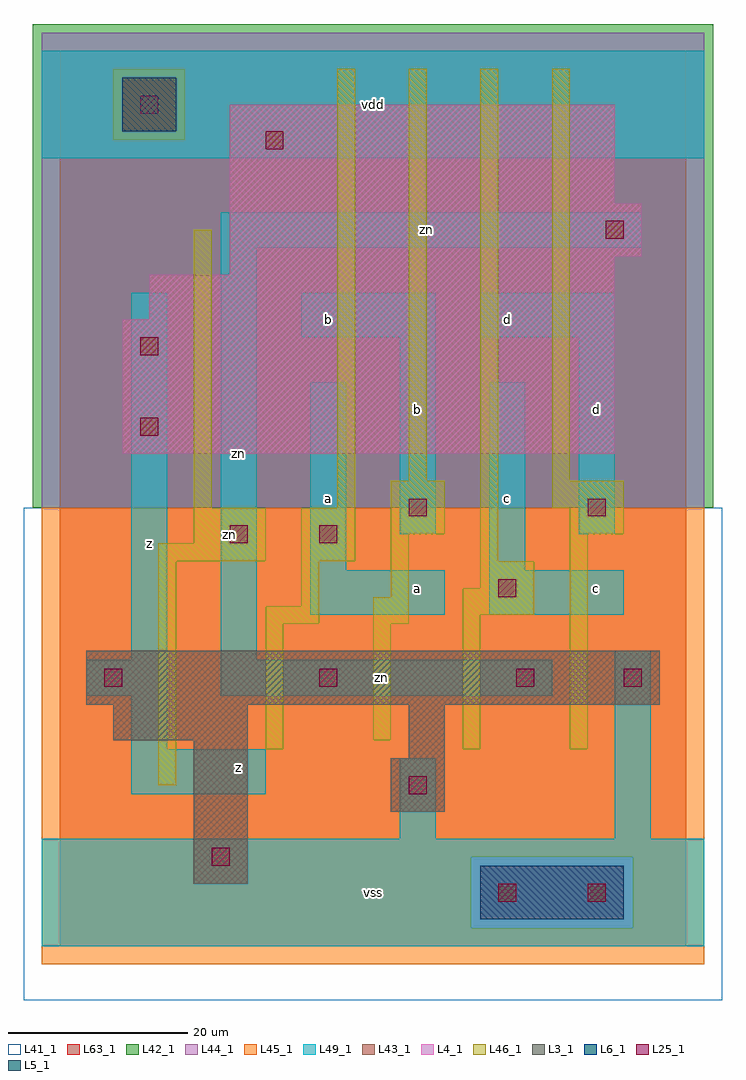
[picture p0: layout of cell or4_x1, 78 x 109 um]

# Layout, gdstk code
import gdstk
lib = gdstk.Library(unit=1e-6, precision=1e-09)
def R(c, l, rs):  # rectangles x0, y0, x1, y1
    for r in rs: c.add(gdstk.rectangle(r[:2], r[2:], *l))
L3_1 = (3, 1)
L4_1 = (4, 1)
L5_1 = (5, 1)
L6_1 = (6, 1)
L25_1 = (25, 1)
L41_1 = (41, 1)
L42_1 = (42, 1)
L43_1 = (43, 1)
L44_1 = (44, 1)
L45_1 = (45, 1)
L46_1 = (46, 1)
L49_1 = (49, 1)
L63_1 = (63, 1)

or4_x1 = lib.new_cell('or4_x1')
R(or4_x1, L3_1, [(15,7,21,23), (37,15,43,21), (39,21,43,27), (6,23,21,27), (3,27,67,33)])
R(or4_x1, L4_1, [(7,55,62,70), (10,70,62,75), (19,75,62,77), (19,77,65,83), (19,83,62,94)])
R(or4_x1, L5_1, [(7,91,13,97)])
R(or4_x1, L6_1, [(47,3,63,9)])
R(or4_x1, L25_1, [(49,5,51,7), (59,5,61,7), (17,9,19,11), (39,17,41,19), (5,29,7,31), (29,29,31,31), (51,29,53,31), (63,29,65,31), (49,39,51,41), (19,45,21,47), (29,45,31,47), (39,48,41,50), (59,48,61,50), (9,57,11,59), (9,66,11,68), (61,79,63,81), (23,89,25,91), (9,93,11,95)])
R(or4_x1, L41_1, [(-4,-6,74,49), (-3,-3,73,49)])
R(or4_x1, L42_1, [(-3,49,73,103)])
R(or4_x1, L43_1, [(47,3,63,9), (15,7,21,23), (37,15,43,21), (39,21,43,27), (6,23,21,27), (3,27,67,33), (7,55,62,70), (10,70,62,75), (19,75,62,77), (19,77,65,83), (19,83,62,94), (7,91,13,97)])
R(or4_x1, L44_1, [(46,2,64,10), (-2,49,72,90), (-2,90,6,98), (14,90,72,98), (-2,98,72,102)])
R(or4_x1, L45_1, [(-2,-2,72,2), (-2,2,46,10), (64,2,72,10), (-2,10,72,49), (6,90,14,98)])
R(or4_x1, L46_1, [(11,18,13,43), (23,22,25,36), (45,22,47,37), (57,22,59,46), (35,23,37,36), (23,36,29,38), (35,36,39,39), (45,37,53,40), (27,38,29,43), (37,39,39,46), (47,40,53,43), (11,43,23,45), (27,43,33,49), (47,43,49,98), (15,45,23,49), (37,46,43,52), (57,46,63,49), (15,49,17,80), (31,49,33,98), (55,49,63,52), (39,52,41,98), (55,52,57,98)])
R(or4_x1, L49_1, [(-2,0,72,12), (38,12,42,21), (62,12,66,33), (8,17,23,22), (8,22,12,28), (3,28,12,32), (18,28,55,32), (8,32,12,73), (18,32,22,78), (28,37,43,42), (48,37,63,42), (28,42,32,63), (48,42,52,63), (38,46,42,68), (58,46,62,68), (27,68,42,73), (47,68,62,73), (18,78,65,82), (-2,88,72,100)])
R(or4_x1, L63_1, [(0,0,70,100)])
or4_x1.add(gdstk.Label('zn', (19,46), layer=49, texttype=1))
or4_x1.add(gdstk.Label('z', (20,20), layer=49, texttype=1))
or4_x1.add(gdstk.Label('z', (20,20), layer=49, texttype=1))
or4_x1.add(gdstk.Label('z', (10,45), layer=49, texttype=1))
or4_x1.add(gdstk.Label('z', (10,45), layer=49, texttype=1))
or4_x1.add(gdstk.Label('zn', (20,55), layer=49, texttype=1))
or4_x1.add(gdstk.Label('vss', (35,6), layer=49, texttype=1))
or4_x1.add(gdstk.Label('vss', (35,6), layer=49, texttype=1))
or4_x1.add(gdstk.Label('a', (30,50), layer=49, texttype=1))
or4_x1.add(gdstk.Label('a', (30,50), layer=49, texttype=1))
or4_x1.add(gdstk.Label('b', (30,70), layer=49, texttype=1))
or4_x1.add(gdstk.Label('b', (30,70), layer=49, texttype=1))
or4_x1.add(gdstk.Label('vdd', (35,94), layer=49, texttype=1))
or4_x1.add(gdstk.Label('vdd', (35,94), layer=49, texttype=1))
or4_x1.add(gdstk.Label('zn', (36,30), layer=49, texttype=1))
or4_x1.add(gdstk.Label('a', (40,40), layer=49, texttype=1))
or4_x1.add(gdstk.Label('a', (40,40), layer=49, texttype=1))
or4_x1.add(gdstk.Label('c', (50,50), layer=49, texttype=1))
or4_x1.add(gdstk.Label('c', (50,50), layer=49, texttype=1))
or4_x1.add(gdstk.Label('b', (40,60), layer=49, texttype=1))
or4_x1.add(gdstk.Label('b', (40,60), layer=49, texttype=1))
or4_x1.add(gdstk.Label('d', (50,70), layer=49, texttype=1))
or4_x1.add(gdstk.Label('d', (50,70), layer=49, texttype=1))
or4_x1.add(gdstk.Label('c', (60,40), layer=49, texttype=1))
or4_x1.add(gdstk.Label('c', (60,40), layer=49, texttype=1))
or4_x1.add(gdstk.Label('d', (60,60), layer=49, texttype=1))
or4_x1.add(gdstk.Label('d', (60,60), layer=49, texttype=1))
or4_x1.add(gdstk.Label('zn', (41,80), layer=49, texttype=1))

lib.write_gds('or4_x1.gds')
